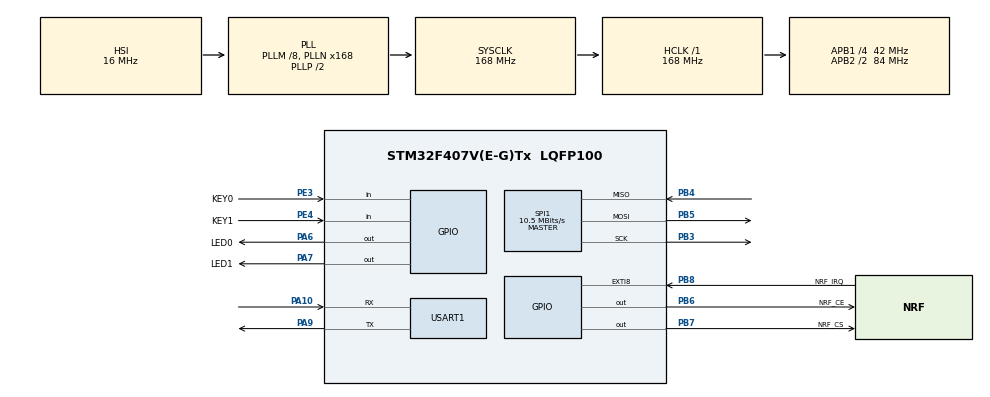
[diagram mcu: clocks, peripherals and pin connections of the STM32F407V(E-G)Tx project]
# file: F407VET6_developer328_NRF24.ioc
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Mcu.Family=STM32F4
Mcu.Name=STM32F407V(E-G)Tx
Mcu.Package=LQFP100
NVIC.EXTI9_5_IRQn=true\:0\:0\:false\:false\:true\:true\:true\:true
NVIC.PriorityGroup=NVIC_PRIORITYGROUP_4
NVIC.SPI1_IRQn=true\:0\:0\:false\:false\:true\:true\:true\:true
NVIC.USART1_IRQn=true\:0\:0\:false\:false\:true\:true\:true\:true
PA10.Mode=Asynchronous
PA10.Signal=USART1_RX
PA13.Mode=Serial_Wire
PA13.Signal=SYS_JTMS-SWDIO
PA14.Mode=Serial_Wire
PA14.Signal=SYS_JTCK-SWCLK
PA6.GPIO_Label=LED0
PA6.Signal=GPIO_Output
PA7.GPIO_Label=LED1
PA7.Signal=GPIO_Output
PA9.Mode=Asynchronous
PA9.Signal=USART1_TX
PB3.Mode=Full_Duplex_Master
PB3.Signal=SPI1_SCK
PB4.Mode=Full_Duplex_Master
PB4.Signal=SPI1_MISO
PB5.Mode=Full_Duplex_Master
PB5.Signal=SPI1_MOSI
PB6.GPIO_Label=NRF_CE
PB6.GPIO_Speed=GPIO_SPEED_FREQ_HIGH
PB6.Signal=GPIO_Output
PB7.GPIO_Label=NRF_CS
PB7.GPIO_Speed=GPIO_SPEED_FREQ_HIGH
PB7.Signal=GPIO_Output
PB8.GPIO_Label=NRF_IRQ
PB8.GPIO_ModeDefaultEXTI=GPIO_MODE_IT_FALLING
PB8.Signal=GPXTI8
PC14-OSC32_IN.Mode=LSE-External-Oscillator
PC14-OSC32_IN.Signal=RCC_OSC32_IN
PC15-OSC32_OUT.Mode=LSE-External-Oscillator
PC15-OSC32_OUT.Signal=RCC_OSC32_OUT
PE3.GPIO_Label=KEY0
PE3.Signal=GPIO_Input
PE4.GPIO_Label=KEY1
PE4.Signal=GPIO_Input
PH0-OSC_IN.Mode=HSE-External-Oscillator
PH0-OSC_IN.Signal=RCC_OSC_IN
PH1-OSC_OUT.Mode=HSE-External-Oscillator
PH1-OSC_OUT.Signal=RCC_OSC_OUT
ProjectManager.HeapSize=0x200
ProjectManager.StackSize=0x400
ProjectManager.TargetToolchain=STM32CubeIDE
RCC.48MHZClocksFreq_Value=84000000
RCC.AHBFreq_Value=168000000
RCC.APB1CLKDivider=RCC_HCLK_DIV4
RCC.APB1Freq_Value=42000000
RCC.APB1TimFreq_Value=84000000
RCC.APB2CLKDivider=RCC_HCLK_DIV2
RCC.APB2Freq_Value=84000000
RCC.APB2TimFreq_Value=168000000
RCC.CortexFreq_Value=168000000
RCC.HCLKFreq_Value=168000000
RCC.HSE_VALUE=25000000
RCC.HSI_VALUE=16000000
RCC.PLLM=8
RCC.PLLN=168
RCC.SYSCLKFreq_VALUE=168000000
RCC.SYSCLKSource=RCC_SYSCLKSOURCE_PLLCLK
RCC.VCOOutputFreq_Value=336000000
SPI1.BaudRatePrescaler=SPI_BAUDRATEPRESCALER_8
SPI1.CalculateBaudRate=10.5 MBits/s
SPI1.Direction=SPI_DIRECTION_2LINES
SPI1.Mode=SPI_MODE_MASTER
SPI1.VirtualType=VM_MASTER
USART1.VirtualMode=VM_ASYNC
board=custom

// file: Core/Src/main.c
/* USER CODE BEGIN Header */
/**
 ******************************************************************************
 * @file           : main.c
 * @brief          : Main program body
 ******************************************************************************
 * @attention
 *
 * Copyright (c) 2025 STMicroelectronics.
 * All rights reserved.
 *
 * This software is licensed under terms that can be found in the LICENSE file
 * in the root directory of this software component.
 * If no LICENSE file comes with this software, it is provided AS-IS.
 *
 ******************************************************************************
 */
/* USER CODE END Header */
#include "main.h"

/* USER CODE BEGIN Includes */
#include <stdio.h>
#include <string.h>
#include "NRF24.h"
#include "NRF24_reg_addresses.h"
/* USER CODE END Includes */

/* USER CODE BEGIN PTD */
// Recommended timeout values (in milliseconds)
#define spi_w_timeout 100  // Write timeout
#define spi_r_timeout 100  // Read timeout
#define spi_rw_timeout 100 // TransmitReceive timeout
/* USER CODE END PTD */

SPI_HandleTypeDef hspi1;

UART_HandleTypeDef huart1;

void SystemClock_Config(void);
static void MX_GPIO_Init(void);
static void MX_SPI1_Init(void);
static void MX_USART1_UART_Init(void);

/* USER CODE BEGIN 0 */
#define TANK
//#define LIBRARY_EXAMPLE
#define MY_CHANNEL 0x6E // radio.setChannel(2);
#define PIPE 1
#if defined TANK
#define PAYLOAD_SIZE 1 //  radio.setPayloadSize(4);
#else
#define PAYLOAD_SIZE 32
//uint8_t dataR[PAYLOAD_SIZE];
#endif
uint8_t dataT[PAYLOAD_SIZE];

// arduino const uint64_t pipe = 0xE8E8F0F0E1LL; // Определяем адрес рабочей трубы;
//const uint64_t deviceID = 0xE8E8F0F0E1LL;  // Define the ID for this slave
//const uint64_t transmitterId = 0x544d52687CLL;
// Pipe and address matching
uint8_t tx_addr[5] = { 0x7C, 0x68, 0x52, 0x4D, 0x54 }; // transmitterId in little-endian
uint8_t rx_addr[5] = { 0xE1, 0xF0, 0xF0, 0xE8, 0xE8 }; // deviceID in little-endian
uint16_t data = 0;

typedef struct {
	uint8_t leftSpeed;
	uint8_t leftDir;
	uint8_t rightSpeed;
	uint8_t rightDir;
} DriveCommand;

// Array of commands: Forward, Backward, Spin Left, Spin Right
DriveCommand commands[] = { { 7, 0, 7, 0 },  // Forward
		{ 7, 1, 7, 1 },  // Backward
		{ 7, 1, 7, 0 },  // Spin Left
		{ 7, 0, 7, 1 },  // Spin Right
		{ 0, 0, 0, 0 }   // Stop
};

#define NUM_COMMANDS (sizeof(commands) / sizeof(commands[0]))

uint8_t send_command_and_receive_ack(uint8_t cmd) {
    uint8_t tx_data[1] = {cmd};
    uint8_t ack_data[2] = {0};
    uint8_t status = 0;

    // 1. Ensure clean state
    nrf24_flush_tx();
    nrf24_flush_rx();
    nrf24_clear_max_rt();
    nrf24_clear_tx_ds();

    // 2. Send the command
    nrf24_stop_listen();
    csn_low();
    uint8_t cmd_w = W_TX_PAYLOAD;
    HAL_SPI_Transmit(&hspi1, &cmd_w, 1, spi_w_timeout);
    HAL_SPI_Transmit(&hspi1, tx_data, 1, spi_w_timeout);
    csn_high();

    // 3. Pulse CE for transmission
    ce_high();
    HAL_Delay(1);  // Critical - minimum 10μs pulse
    ce_low();

    // 4. Wait for transmission completion
    uint32_t timeout = HAL_GetTick();
    do {
        status = nrf24_r_status();
        if(HAL_GetTick() - timeout > 100) { // 100ms timeout
            printf("Timeout!\r\n");
            return 0;
        }
    } while(!(status & ((1<<TX_DS) | (1<<MAX_RT))));

    // 5. Check result
    if(status & (1<<MAX_RT)) {
        printf("Max retries reached\r\n");
        nrf24_clear_max_rt();
        return 0;
    }

    // 6. Switch to RX mode for ACK payload
    nrf24_listen();
    timeout = HAL_GetTick();
    while(!nrf24_data_available()) {
        if(HAL_GetTick() - timeout > 10) { // Shorter 10ms timeout for ACK
            printf("No ACK payload\r\n");
            nrf24_stop_listen();
            return 0;
        }
    }

    // 7. Read ACK payload
    csn_low();
    uint8_t cmd_r = R_RX_PAYLOAD;
    HAL_SPI_Transmit(&hspi1, &cmd_r, 1, spi_w_timeout);
    HAL_SPI_Receive(&hspi1, ack_data, 2, spi_r_timeout);
    csn_high();

    nrf24_clear_rx_dr();
    nrf24_stop_listen();

    // 8. Verify ACK
    if(ack_data[0] == 0x00 && ack_data[1] == 0x12) {
        return 1;
    }
    return 0;
}
/* USER CODE END 0 */

int main(void)
{

  /* MCU Configuration--------------------------------------------------------*/

  /* Reset of all peripherals, Initializes the Flash interface and the Systick. */
  HAL_Init();

  /* Configure the system clock */
  SystemClock_Config();

  /* Initialize all configured peripherals */
  MX_GPIO_Init();
  MX_SPI1_Init();
  MX_USART1_UART_Init();

  /* Infinite loop */
  /* USER CODE BEGIN WHILE */
	static int index = 0;
	while (1) {

#if defined TANK
		DriveCommand c = commands[index];
		uint8_t cmd = (c.leftDir << 7) | ((c.leftSpeed & 0x07) << 4)
				| (c.rightDir << 3) | (c.rightSpeed & 0x07);

		// Send command and handle ACK
		if (!send_command_and_receive_ack(cmd)) {
			// Handle transmission failure (retry, etc.)
			HAL_Delay(10); // Small delay before retry
			continue;
		}

		printf("Sent[%d]: 0x%02X\n", index, cmd);

		// Move to next command with wrap-around
		index = (index + 1) % (sizeof(commands) / sizeof(commands[0]));
#else
		sprintf(dataT, "%d WTF!", count++);
		uint8_t result = nrf24_transmit(dataT, sizeof(dataT));
		printf("Sent: %s, result = %d\r\n", dataT, result);

#endif
		HAL_Delay(1000);

		HAL_GPIO_TogglePin(LED0_GPIO_Port, LED0_Pin);
    /* USER CODE END WHILE */

	}
}

void SystemClock_Config(void)
{
  RCC_OscInitTypeDef RCC_OscInitStruct = {0};
  RCC_ClkInitTypeDef RCC_ClkInitStruct = {0};

  /** Configure the main internal regulator output voltage
  */
  __HAL_RCC_PWR_CLK_ENABLE();
  __HAL_PWR_VOLTAGESCALING_CONFIG(PWR_REGULATOR_VOLTAGE_SCALE1);

  /** Initializes the RCC Oscillators according to the specified parameters
  * in the RCC_OscInitTypeDef structure.
  */
  RCC_OscInitStruct.OscillatorType = RCC_OSCILLATORTYPE_HSI;
  RCC_OscInitStruct.HSIState = RCC_HSI_ON;
  RCC_OscInitStruct.HSICalibrationValue = RCC_HSICALIBRATION_DEFAULT;
  RCC_OscInitStruct.PLL.PLLState = RCC_PLL_ON;
  RCC_OscInitStruct.PLL.PLLSource = RCC_PLLSOURCE_HSI;
  RCC_OscInitStruct.PLL.PLLM = 8;
  RCC_OscInitStruct.PLL.PLLN = 168;
  RCC_OscInitStruct.PLL.PLLP = RCC_PLLP_DIV2;
  RCC_OscInitStruct.PLL.PLLQ = 4;
  if (HAL_RCC_OscConfig(&RCC_OscInitStruct) != HAL_OK)
  {
    Error_Handler();
  }

  /** Initializes the CPU, AHB and APB buses clocks
  */
  RCC_ClkInitStruct.ClockType = RCC_CLOCKTYPE_HCLK|RCC_CLOCKTYPE_SYSCLK
                              |RCC_CLOCKTYPE_PCLK1|RCC_CLOCKTYPE_PCLK2;
  RCC_ClkInitStruct.SYSCLKSource = RCC_SYSCLKSOURCE_PLLCLK;
  RCC_ClkInitStruct.AHBCLKDivider = RCC_SYSCLK_DIV1;
  RCC_ClkInitStruct.APB1CLKDivider = RCC_HCLK_DIV4;
  RCC_ClkInitStruct.APB2CLKDivider = RCC_HCLK_DIV2;

  if (HAL_RCC_ClockConfig(&RCC_ClkInitStruct, FLASH_LATENCY_5) != HAL_OK)
  {
    Error_Handler();
  }
}

static void MX_SPI1_Init(void)
{

  /* SPI1 parameter configuration*/
  hspi1.Instance = SPI1;
  hspi1.Init.Mode = SPI_MODE_MASTER;
  hspi1.Init.Direction = SPI_DIRECTION_2LINES;
  hspi1.Init.DataSize = SPI_DATASIZE_8BIT;
  hspi1.Init.CLKPolarity = SPI_POLARITY_LOW;
  hspi1.Init.CLKPhase = SPI_PHASE_1EDGE;
  hspi1.Init.NSS = SPI_NSS_SOFT;
  hspi1.Init.BaudRatePrescaler = SPI_BAUDRATEPRESCALER_8;
  hspi1.Init.FirstBit = SPI_FIRSTBIT_MSB;
  hspi1.Init.TIMode = SPI_TIMODE_DISABLE;
  hspi1.Init.CRCCalculation = SPI_CRCCALCULATION_DISABLE;
  hspi1.Init.CRCPolynomial = 10;
  if (HAL_SPI_Init(&hspi1) != HAL_OK)
  {
    Error_Handler();
  }

}

static void MX_USART1_UART_Init(void)
{

  huart1.Instance = USART1;
  huart1.Init.BaudRate = 115200;
  huart1.Init.WordLength = UART_WORDLENGTH_8B;
  huart1.Init.StopBits = UART_STOPBITS_1;
  huart1.Init.Parity = UART_PARITY_NONE;
  huart1.Init.Mode = UART_MODE_TX_RX;
  huart1.Init.HwFlowCtl = UART_HWCONTROL_NONE;
  huart1.Init.OverSampling = UART_OVERSAMPLING_16;
  if (HAL_UART_Init(&huart1) != HAL_OK)
  {
    Error_Handler();
  }

}

static void MX_GPIO_Init(void)
{
  GPIO_InitTypeDef GPIO_InitStruct = {0};

  /* GPIO Ports Clock Enable */
  __HAL_RCC_GPIOE_CLK_ENABLE();
  __HAL_RCC_GPIOC_CLK_ENABLE();
  __HAL_RCC_GPIOH_CLK_ENABLE();
  __HAL_RCC_GPIOA_CLK_ENABLE();
  __HAL_RCC_GPIOB_CLK_ENABLE();

  /*Configure GPIO pin Output Level */
  HAL_GPIO_WritePin(GPIOA, LED0_Pin|LED1_Pin, GPIO_PIN_RESET);

  /*Configure GPIO pin Output Level */
  HAL_GPIO_WritePin(GPIOB, NRF_CE_Pin|NRF_CS_Pin, GPIO_PIN_RESET);

  /*Configure GPIO pins : KEY0_Pin KEY1_Pin */
  GPIO_InitStruct.Pin = KEY0_Pin|KEY1_Pin;
  GPIO_InitStruct.Mode = GPIO_MODE_INPUT;
  GPIO_InitStruct.Pull = GPIO_NOPULL;
  HAL_GPIO_Init(GPIOE, &GPIO_InitStruct);

  /*Configure GPIO pins : LED0_Pin LED1_Pin */
  GPIO_InitStruct.Pin = LED0_Pin|LED1_Pin;
  GPIO_InitStruct.Mode = GPIO_MODE_OUTPUT_PP;
  GPIO_InitStruct.Pull = GPIO_NOPULL;
  GPIO_InitStruct.Speed = GPIO_SPEED_FREQ_LOW;
  HAL_GPIO_Init(GPIOA, &GPIO_InitStruct);

  /*Configure GPIO pins : NRF_CE_Pin NRF_CS_Pin */
  GPIO_InitStruct.Pin = NRF_CE_Pin|NRF_CS_Pin;
  GPIO_InitStruct.Mode = GPIO_MODE_OUTPUT_PP;
  GPIO_InitStruct.Pull = GPIO_NOPULL;
  GPIO_InitStruct.Speed = GPIO_SPEED_FREQ_HIGH;
  HAL_GPIO_Init(GPIOB, &GPIO_InitStruct);

  /*Configure GPIO pin : NRF_IRQ_Pin */
  GPIO_InitStruct.Pin = NRF_IRQ_Pin;
  GPIO_InitStruct.Mode = GPIO_MODE_IT_FALLING;
  GPIO_InitStruct.Pull = GPIO_NOPULL;
  HAL_GPIO_Init(NRF_IRQ_GPIO_Port, &GPIO_InitStruct);

  /* EXTI interrupt init*/
  HAL_NVIC_SetPriority(EXTI9_5_IRQn, 0, 0);
  HAL_NVIC_EnableIRQ(EXTI9_5_IRQn);

}

void Error_Handler(void)
{
	__disable_irq();
	while (1) {
	}
}
